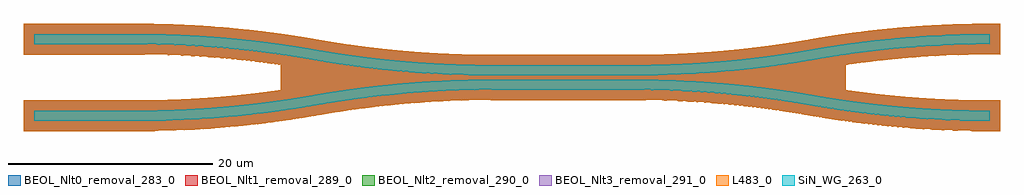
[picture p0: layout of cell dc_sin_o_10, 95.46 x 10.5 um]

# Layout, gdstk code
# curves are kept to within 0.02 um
import gdstk
lib = gdstk.Library(unit=1e-6, precision=1e-09)
def R(c, l, rs):  # rectangles x0, y0, x1, y1
    for r in rs: c.add(gdstk.rectangle(r[:2], r[2:], *l))
def P(c, l, *ps):  # polygons
    for p in ps: c.add(gdstk.Polygon(p, *l))
SiN_WG_263_0 = (263, 0)
BEOL_Nlt0_removal_283_0 = (283, 0)
BEOL_Nlt1_removal_289_0 = (289, 0)
BEOL_Nlt2_removal_290_0 = (290, 0)
BEOL_Nlt3_removal_291_0 = (291, 0)
L483_0 = (483, 0)

directional_coupler = lib.new_cell('Directional$Coupler')
R(directional_coupler, SiN_WG_263_0, [(0.79,0.312,10.79,1.312), (45.519,3.35,59.519,4.35), (45.519,4.77,59.519,5.77), (0.79,7.809,10.79,8.809)])
P(directional_coupler, SiN_WG_263_0, [(93.969,0.312),(92.127,0.334),(89.605,0.419),(87.566,0.534),(85.41,0.701),(83.099,0.932),(80.952,1.195),(78.852,1.498),(76.797,1.839),(76.971,2.824),(79.014,2.485),(81.459,2.137),(83.555,1.888),(85.775,1.673),(87.92,1.513),(89.869,1.408),(92.138,1.334),(94.249,1.312),(94.249,0.312)],
  [(76.797,1.839),(74.518,2.214),(72.428,2.51),(70.292,2.766),(68.033,2.986),(65.729,3.157),(63.7,3.263),(61.511,3.331),(59.519,3.35),(59.519,4.35),(63.043,4.289),(66.961,4.075),(70.51,3.748),(74.125,3.284),(76.971,2.824)],
  [(10.79,0.312),(10.79,1.312),(12.901,1.334),(15.17,1.408),(17.118,1.513),(19.343,1.68),(21.483,1.888),(23.817,2.168),(26.103,2.497),(28.068,2.824),(28.241,1.839),(26.187,1.498),(24.086,1.195),(21.94,0.932),(19.629,0.701),(17.473,0.534),(15.233,0.41),(12.912,0.334)],
  [(76.971,6.297),(76.797,7.282),(79.881,7.777),(83.577,8.241),(87.007,8.548),(90.766,8.749),(94.249,8.809),(94.249,7.809),(92.138,7.787),(89.988,7.718),(87.722,7.595),(85.696,7.441),(83.555,7.233),(81.262,6.958),(78.975,6.63)],
  [(59.519,4.77),(59.519,5.77),(61.75,5.795),(63.82,5.863),(65.888,5.974),(68.033,6.135),(70.173,6.342),(72.467,6.616),(74.597,6.919),(76.797,7.282),(76.971,6.297),(74.719,5.926),(72.578,5.622),(70.152,5.334),(68.159,5.142),(66.042,4.982),(63.843,4.863),(61.762,4.795)],
  [(45.439,4.77),(43.277,4.795),(41.196,4.863),(38.996,4.982),(36.72,5.156),(34.409,5.386),(32.461,5.622),(30.32,5.926),(28.068,6.297),(28.241,7.282),(30.442,6.919),(32.571,6.616),(34.865,6.342),(37.006,6.135),(39.151,5.974),(41.219,5.863),(43.289,5.795),(45.519,5.77),(45.519,4.77)],
  [(28.068,6.297),(26.064,6.63),(23.777,6.958),(21.483,7.233),(19.343,7.441),(17.317,7.595),(15.05,7.718),(12.901,7.787),(10.79,7.809),(10.79,8.809),(14.273,8.749),(18.032,8.548),(21.582,8.228),(25.316,7.754),(28.241,7.282)],
  [(28.241,1.839),(28.068,2.824),(30.914,3.284),(34.528,3.748),(38.077,4.075),(41.996,4.289),(45.519,4.35),(45.519,3.35),(43.528,3.331),(41.338,3.263),(39.31,3.157),(37.006,2.986),(34.747,2.766),(32.611,2.51),(30.56,2.22)])

dc_nit0 = lib.new_cell('dc_nit0')
P(dc_nit0, BEOL_Nlt0_removal_283_0, [(93.957,-0.688),(91.329,-0.646),(88.783,-0.541),(86.281,-0.375),(83.903,-0.16),(80.1,0.302),(73.961,1.287),(70.338,1.754),(70.338,7.367),(73.913,7.827),(80.18,8.83),(82.31,9.105),(84.285,9.319),(87.183,9.563),(89.768,9.71),(92.315,9.791),(95.249,9.809),(95.249,6.809),(91.408,6.768),(87.679,6.59),(84.067,6.282),(80.159,5.796),(80.159,3.325),(83.682,2.88),(85.771,2.677),(87.652,2.533),(91.367,2.354),(95.249,2.312),(95.249,-0.688)],
  [(70.338,1.754),(68.275,1.961),(66.156,2.127),(63.819,2.257),(61.764,2.325),(59.892,2.35),(45.465,2.35),(45.465,6.77),(59.574,6.77),(61.724,6.795),(63.932,6.869),(66.01,6.984),(68.275,7.16),(70.338,7.367)],
  [(22.623,0.004),(22.623,3.025),(24.88,3.325),(24.88,5.796),(22.623,6.095),(22.623,9.117),(25.691,8.71),(31.551,7.765),(35.443,7.287),(37.862,7.068),(40.274,6.91),(42.822,6.807),(45.465,6.77),(45.465,2.35),(42.836,2.314),(40.314,2.213),(37.9,2.056),(35.496,1.84),(31.834,1.396),(25.652,0.405)],
  [(22.623,6.095),(20.376,6.342),(18.568,6.502),(16.114,6.665),(13.831,6.762),(11.043,6.809),(-0.21,6.809),(-0.21,9.809),(11.082,9.809),(13.91,9.761),(16.044,9.673),(18.094,9.546),(20.274,9.365),(22.623,9.117)],
  [(-0.21,-0.688),(-0.21,2.312),(11.043,2.312),(13.871,2.36),(16.154,2.458),(18.568,2.619),(20.376,2.779),(22.623,3.025),(22.623,0.004),(20.434,-0.229),(18.054,-0.428),(16.045,-0.552),(13.91,-0.64),(11.082,-0.688)])

dc_nit1 = lib.new_cell('dc_nit1')
P(dc_nit1, BEOL_Nlt1_removal_289_0, [(93.957,-0.688),(91.329,-0.646),(88.783,-0.541),(86.281,-0.375),(83.903,-0.16),(80.1,0.302),(73.961,1.287),(70.338,1.754),(70.338,7.367),(73.913,7.827),(80.18,8.83),(82.31,9.105),(84.285,9.319),(87.183,9.563),(89.768,9.71),(92.315,9.791),(95.249,9.809),(95.249,6.809),(91.408,6.768),(87.679,6.59),(84.067,6.282),(80.159,5.796),(80.159,3.325),(83.682,2.88),(85.771,2.677),(87.652,2.533),(91.367,2.354),(95.249,2.312),(95.249,-0.688)],
  [(70.338,1.754),(68.275,1.961),(66.156,2.127),(63.819,2.257),(61.764,2.325),(59.892,2.35),(45.465,2.35),(45.465,6.77),(59.574,6.77),(61.724,6.795),(63.932,6.869),(66.01,6.984),(68.275,7.16),(70.338,7.367)],
  [(22.623,0.004),(22.623,3.025),(24.88,3.325),(24.88,5.796),(22.623,6.095),(22.623,9.117),(25.691,8.71),(31.551,7.765),(35.443,7.287),(37.862,7.068),(40.274,6.91),(42.822,6.807),(45.465,6.77),(45.465,2.35),(42.836,2.314),(40.314,2.213),(37.9,2.056),(35.496,1.84),(31.834,1.396),(25.652,0.405)],
  [(22.623,6.095),(20.376,6.342),(18.568,6.502),(16.114,6.665),(13.831,6.762),(11.043,6.809),(-0.21,6.809),(-0.21,9.809),(11.082,9.809),(13.91,9.761),(16.044,9.673),(18.094,9.546),(20.274,9.365),(22.623,9.117)],
  [(-0.21,-0.688),(-0.21,2.312),(11.043,2.312),(13.871,2.36),(16.154,2.458),(18.568,2.619),(20.376,2.779),(22.623,3.025),(22.623,0.004),(20.434,-0.229),(18.054,-0.428),(16.045,-0.552),(13.91,-0.64),(11.082,-0.688)])

dc_nit2 = lib.new_cell('dc_nit2')
P(dc_nit2, BEOL_Nlt2_removal_290_0, [(93.957,-0.688),(91.329,-0.646),(88.783,-0.541),(86.281,-0.375),(83.903,-0.16),(80.1,0.302),(73.961,1.287),(70.338,1.754),(70.338,7.367),(73.913,7.827),(80.18,8.83),(82.31,9.105),(84.285,9.319),(87.183,9.563),(89.768,9.71),(92.315,9.791),(95.249,9.809),(95.249,6.809),(91.408,6.768),(87.679,6.59),(84.067,6.282),(80.159,5.796),(80.159,3.325),(83.682,2.88),(85.771,2.677),(87.652,2.533),(91.367,2.354),(95.249,2.312),(95.249,-0.688)],
  [(70.338,1.754),(68.275,1.961),(66.156,2.127),(63.819,2.257),(61.764,2.325),(59.892,2.35),(45.465,2.35),(45.465,6.77),(59.574,6.77),(61.724,6.795),(63.932,6.869),(66.01,6.984),(68.275,7.16),(70.338,7.367)],
  [(22.623,0.004),(22.623,3.025),(24.88,3.325),(24.88,5.796),(22.623,6.095),(22.623,9.117),(25.691,8.71),(31.551,7.765),(35.443,7.287),(37.862,7.068),(40.274,6.91),(42.822,6.807),(45.465,6.77),(45.465,2.35),(42.836,2.314),(40.314,2.213),(37.9,2.056),(35.496,1.84),(31.834,1.396),(25.652,0.405)],
  [(22.623,6.095),(20.376,6.342),(18.568,6.502),(16.114,6.665),(13.831,6.762),(11.043,6.809),(-0.21,6.809),(-0.21,9.809),(11.082,9.809),(13.91,9.761),(16.044,9.673),(18.094,9.546),(20.274,9.365),(22.623,9.117)],
  [(-0.21,-0.688),(-0.21,2.312),(11.043,2.312),(13.871,2.36),(16.154,2.458),(18.568,2.619),(20.376,2.779),(22.623,3.025),(22.623,0.004),(20.434,-0.229),(18.054,-0.428),(16.045,-0.552),(13.91,-0.64),(11.082,-0.688)])

dc_nit3 = lib.new_cell('dc_nit3')
P(dc_nit3, BEOL_Nlt3_removal_291_0, [(93.957,-0.688),(91.329,-0.646),(88.783,-0.541),(86.281,-0.375),(83.903,-0.16),(80.1,0.302),(73.961,1.287),(70.338,1.754),(70.338,7.367),(73.913,7.827),(80.18,8.83),(82.31,9.105),(84.285,9.319),(87.183,9.563),(89.768,9.71),(92.315,9.791),(95.249,9.809),(95.249,6.809),(91.408,6.768),(87.679,6.59),(84.067,6.282),(80.159,5.796),(80.159,3.325),(83.682,2.88),(85.771,2.677),(87.652,2.533),(91.367,2.354),(95.249,2.312),(95.249,-0.688)],
  [(70.338,1.754),(68.275,1.961),(66.156,2.127),(63.819,2.257),(61.764,2.325),(59.892,2.35),(45.465,2.35),(45.465,6.77),(59.574,6.77),(61.724,6.795),(63.932,6.869),(66.01,6.984),(68.275,7.16),(70.338,7.367)],
  [(22.623,0.004),(22.623,3.025),(24.88,3.325),(24.88,5.796),(22.623,6.095),(22.623,9.117),(25.691,8.71),(31.551,7.765),(35.443,7.287),(37.862,7.068),(40.274,6.91),(42.822,6.807),(45.465,6.77),(45.465,2.35),(42.836,2.314),(40.314,2.213),(37.9,2.056),(35.496,1.84),(31.834,1.396),(25.652,0.405)],
  [(22.623,6.095),(20.376,6.342),(18.568,6.502),(16.114,6.665),(13.831,6.762),(11.043,6.809),(-0.21,6.809),(-0.21,9.809),(11.082,9.809),(13.91,9.761),(16.044,9.673),(18.094,9.546),(20.274,9.365),(22.623,9.117)],
  [(-0.21,-0.688),(-0.21,2.312),(11.043,2.312),(13.871,2.36),(16.154,2.458),(18.568,2.619),(20.376,2.779),(22.623,3.025),(22.623,0.004),(20.434,-0.229),(18.054,-0.428),(16.045,-0.552),(13.91,-0.64),(11.082,-0.688)])

dc_nitpasv = lib.new_cell('dc_nitpasv')
P(dc_nitpasv, L483_0, [(93.957,-0.688),(91.329,-0.646),(88.783,-0.541),(86.281,-0.375),(83.903,-0.16),(80.1,0.302),(73.961,1.287),(70.338,1.754),(70.338,7.367),(73.913,7.827),(80.18,8.83),(82.31,9.105),(84.285,9.319),(87.183,9.563),(89.768,9.71),(92.315,9.791),(95.249,9.809),(95.249,6.809),(91.408,6.768),(87.679,6.59),(84.067,6.282),(80.159,5.796),(80.159,3.325),(83.682,2.88),(85.771,2.677),(87.652,2.533),(91.367,2.354),(95.249,2.312),(95.249,-0.688)],
  [(70.338,1.754),(68.275,1.961),(66.156,2.127),(63.819,2.257),(61.764,2.325),(59.892,2.35),(45.465,2.35),(45.465,6.77),(59.574,6.77),(61.724,6.795),(63.932,6.869),(66.01,6.984),(68.275,7.16),(70.338,7.367)],
  [(22.623,0.004),(22.623,3.025),(24.88,3.325),(24.88,5.796),(22.623,6.095),(22.623,9.117),(25.691,8.71),(31.551,7.765),(35.443,7.287),(37.862,7.068),(40.274,6.91),(42.822,6.807),(45.465,6.77),(45.465,2.35),(42.836,2.314),(40.314,2.213),(37.9,2.056),(35.496,1.84),(31.834,1.396),(25.652,0.405)],
  [(22.623,6.095),(20.376,6.342),(18.568,6.502),(16.114,6.665),(13.831,6.762),(11.043,6.809),(-0.21,6.809),(-0.21,9.809),(11.082,9.809),(13.91,9.761),(16.044,9.673),(18.094,9.546),(20.274,9.365),(22.623,9.117)],
  [(-0.21,-0.688),(-0.21,2.312),(11.043,2.312),(13.871,2.36),(16.154,2.458),(18.568,2.619),(20.376,2.779),(22.623,3.025),(22.623,0.004),(20.434,-0.229),(18.054,-0.428),(16.045,-0.552),(13.91,-0.64),(11.082,-0.688)])

dc_sin_o_10 = lib.new_cell('dc_sin_o_10')
dc_sin_o_10.add(gdstk.Reference(directional_coupler, (0,0)))
dc_sin_o_10.add(gdstk.Reference(dc_nit0, (0,0)))
dc_sin_o_10.add(gdstk.Reference(dc_nit1, (0,0)))
dc_sin_o_10.add(gdstk.Reference(dc_nit2, (0,0)))
dc_sin_o_10.add(gdstk.Reference(dc_nit3, (0,0)))
dc_sin_o_10.add(gdstk.Reference(dc_nitpasv, (0,0)))

lib.write_gds('dc_sin_o_10.gds')
